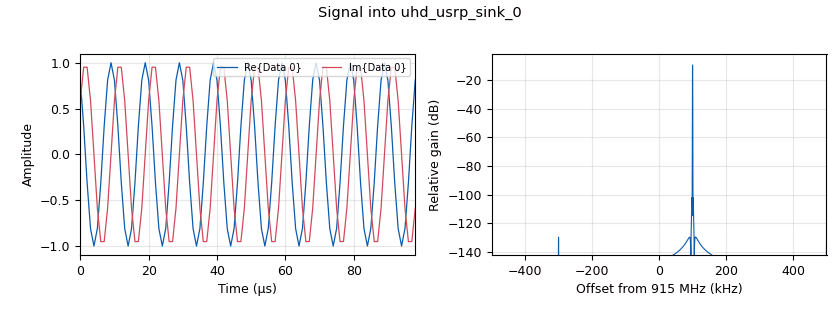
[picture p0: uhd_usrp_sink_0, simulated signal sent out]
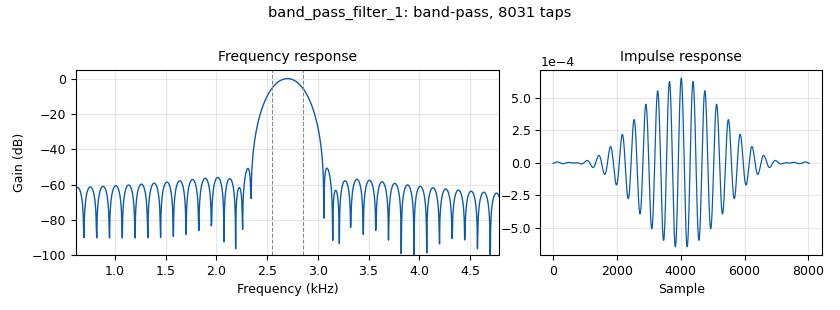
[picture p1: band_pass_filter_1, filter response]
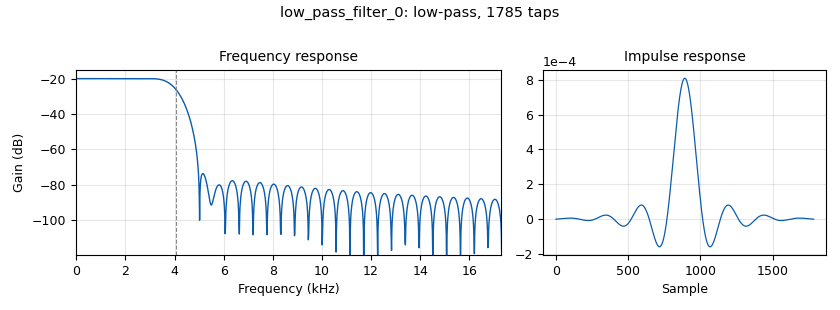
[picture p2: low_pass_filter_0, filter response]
options:
  parameters:
    author: ebaum
    generate_options: qt_gui
    id: top_block
    output_language: python
    title: Not titled yet
  states: {}

blocks:
- name: center_freq
  id: variable
  parameters:
    value: 915e6
  states: {}
- name: enable_rx
  id: variable_qtgui_check_box
  parameters:
    'false': '0'
    gui_hint: 1,4,1,1
    'true': '1'
    type: int
    value: '1'
  states: {}
- name: filter_samp_rate
  id: variable
  parameters:
    value: 15e3
  states: {}
- name: fsk_deviation_hz
  id: variable_qtgui_entry
  parameters:
    gui_hint: 1,3,1,1
    type: real
    value: '2700'
  states: {}
- name: fsk_width_hz
  id: variable
  parameters:
    value: '300'
  states: {state: disabled}
- name: fsk_width_hz
  id: variable_qtgui_entry
  parameters:
    gui_hint: 2,3,1,1
    label: fsk width (hz)
    type: int
    value: '300'
  states: {}
- name: nfilts
  id: variable
  parameters:
    value: '32'
  states: {}
- name: rrc_taps
  id: variable_rrc_filter_taps
  parameters:
    alpha: '0.35'
    gain: '1.0'
    ntaps: 11*sps
    samp_rate: filter_samp_rate
    sym_rate: symbol_rate
  states: {state: disabled}
- name: rx_gain
  id: variable_qtgui_range
  parameters:
    gui_hint: 2,2,1,1
    label: RX gain (dB)
    orient: Qt.Horizontal
    start: '0'
    step: '1'
    stop: '76'
    value: '38'
  states: {}
- name: samp_rate
  id: variable
  parameters:
    value: 1e6
  states: {}
- name: scatter_center_freq
  id: variable
  parameters:
    value: scatter_freq_khz * 1e3
  states: {state: disabled}
- name: scatter_center_freq
  id: variable_qtgui_entry
  parameters:
    gui_hint: 1,2,1,1
    label: Scatter Freq (Hz)
    type: real
    value: '207827.25'
  states: {}
- name: sps
  id: variable
  parameters:
    value: int(filter_samp_rate/symbol_rate)
  states: {}
- name: symbol_rate
  id: variable
  parameters:
    value: 1e3
  states: {}
- name: tone_freq
  id: variable
  parameters:
    value: tone_freq_khz * 1e3
  states: {}
- name: tone_freq_khz
  id: variable_qtgui_entry
  parameters:
    gui_hint: 1,1,1,1
    label: Tone Freq (kHz)
    type: real
    value: '100'
  states: {}
- name: tx_gain
  id: variable_qtgui_range
  parameters:
    gui_hint: 2,1,1,1
    label: TX gain (dB)
    orient: Qt.Horizontal
    start: '0'
    step: '1'
    stop: '89'
    value: '40'
  states: {}
- name: tx_samp_rate
  id: variable
  parameters:
    value: 1e6
  states: {}
- name: analog_quadrature_demod_cf_0
  id: analog_quadrature_demod_cf
  parameters:
    gain: '1'
  states: {}
- name: analog_sig_source_x_0
  id: analog_sig_source_x
  parameters:
    amp: '1'
    freq: tone_freq
    offset: '0'
    phase: '0'
    samp_rate: tx_samp_rate
    type: complex
    waveform: analog.GR_COS_WAVE
  states: {}
- name: analog_sig_source_x_1
  id: analog_sig_source_x
  parameters:
    amp: '1'
    freq: '-(tone_freq + scatter_center_freq)'
    offset: '0'
    phase: '0'
    samp_rate: samp_rate
    type: complex
    waveform: analog.GR_COS_WAVE
  states: {}
- name: band_pass_filter_1
  id: band_pass_filter
  parameters:
    decim: int(samp_rate/filter_samp_rate)
    gain: '1'
    high_cutoff_freq: fsk_deviation_hz + fsk_width_hz/2
    low_cutoff_freq: fsk_deviation_hz - fsk_width_hz/2
    samp_rate: samp_rate
    type: fir_filter_ccf
    width: fsk_width_hz
    win: firdes.WIN_HAMMING
  states: {}
- name: blocks_add_const_vxx_0
  id: blocks_add_const_vxx
  parameters:
    const: ord('0')
    type: byte
  states: {state: disabled}
- name: blocks_add_const_vxx_1
  id: blocks_add_const_vxx
  parameters:
    const: '-1'
    type: float
  states: {}
- name: blocks_copy_0
  id: blocks_copy
  parameters:
    enabled: 'True'
    type: complex
  states: {}
- name: blocks_file_sink_0
  id: blocks_file_sink
  parameters:
    comment: file output
    file: /Users/ebaum/Documents/capstone/repo/flowgraphs/wired_switching/bitstream_wired_message.txt
    type: byte
  states: {state: disabled}
- name: blocks_file_source_0
  id: blocks_file_source
  parameters:
    file: /Users/ebaum/Documents/capstone/repo/processing/hamming-test/hamming-dd-bp-s15k.iq
    repeat: 'True'
    type: complex
  states: {state: disabled}
- name: blocks_multiply_const_vxx_0
  id: blocks_multiply_const_vxx
  parameters:
    const: enable_rx
    type: complex
  states: {}
- name: blocks_multiply_const_vxx_1
  id: blocks_multiply_const_vxx
  parameters:
    const: '10'
    type: float
  states: {state: disabled}
- name: blocks_multiply_const_vxx_2
  id: blocks_multiply_const_vxx
  parameters:
    const: '10'
    type: float
  states: {state: disabled}
- name: blocks_multiply_const_vxx_3
  id: blocks_multiply_const_vxx
  parameters:
    const: '2'
    type: float
  states: {}
- name: blocks_multiply_xx_0
  id: blocks_multiply_xx
  parameters:
    type: complex
  states: {}
- name: blocks_null_source_0
  id: blocks_null_source
  parameters:
    type: float
  states: {}
- name: blocks_repeat_0
  id: blocks_repeat
  parameters:
    interp: '15'
    type: float
  states: {state: disabled}
- name: blocks_throttle_1
  id: blocks_throttle
  parameters:
    samples_per_second: filter_samp_rate
    type: complex
  states: {state: disabled}
- name: blocks_uchar_to_float_0
  id: blocks_uchar_to_float
  parameters: {}
  states: {state: disabled}
- name: blocks_uchar_to_float_1
  id: blocks_uchar_to_float
  parameters: {}
  states: {}
- name: blocks_udp_sink_0
  id: blocks_udp_sink
  parameters:
    comment: |-
      in a terminal run
      nc -luk PORT
    eof: 'True'
    ipaddr: localhost
    port: '7890'
    psize: '1472'
    type: byte
    vlen: '1'
  states: {state: disabled}
- name: digital_binary_slicer_fb_0
  id: digital_binary_slicer_fb
  parameters: {}
  states: {state: disabled}
- name: digital_binary_slicer_fb_1
  id: digital_binary_slicer_fb
  parameters: {}
  states: {}
- name: digital_pfb_clock_sync_xxx_0
  id: digital_pfb_clock_sync_xxx
  parameters:
    filter_size: nfilts
    init_phase: '16'
    loop_bw: 6.28/100
    max_dev: '1.5'
    osps: '15'
    sps: sps
    taps: rrc_taps
    type: fff
  states: {state: disabled}
- name: digital_pfb_clock_sync_xxx_0_0
  id: digital_pfb_clock_sync_xxx
  parameters:
    filter_size: nfilts
    init_phase: '16'
    loop_bw: 6.28/100
    max_dev: '1.5'
    osps: '1'
    sps: sps
    taps: rrc_taps
    type: fff
  states: {state: disabled}
- name: low_pass_filter_0
  id: low_pass_filter
  parameters:
    cutoff_freq: fsk_deviation_hz * 1.5
    decim: int(samp_rate/filter_samp_rate)
    gain: '0.1'
    samp_rate: samp_rate
    type: fir_filter_ccf
    width: fsk_deviation_hz * 0.5
    win: firdes.WIN_HAMMING
  states: {}
- name: qtgui_freq_sink_x_0
  id: qtgui_freq_sink_x
  parameters:
    bw: filter_samp_rate
    comment: filtered
    ctrlpanel: 'True'
    fc: scatter_center_freq
    fftsize: '1024'
    gui_hint: 3,1,1,4
    name: tuned & filtered
    nconnections: '2'
    type: complex
    wintype: firdes.WIN_BLACKMAN_hARRIS
  states: {}
- name: qtgui_freq_sink_x_1
  id: qtgui_freq_sink_x
  parameters:
    bw: samp_rate
    comment: tuned
    ctrlpanel: 'True'
    fc: '0'
    fftsize: '1024'
    name: Tuned
    type: complex
    update_time: '0.1'
    wintype: firdes.WIN_BLACKMAN_hARRIS
  states: {state: disabled}
- name: qtgui_freq_sink_x_2
  id: qtgui_freq_sink_x
  parameters:
    bw: filter_samp_rate
    fc: '0'
    fftsize: '1024'
    type: float
    wintype: firdes.WIN_BLACKMAN_hARRIS
  states: {state: disabled}
- name: qtgui_time_sink_x_0
  id: qtgui_time_sink_x
  parameters:
    ctrlpanel: 'True'
    size: '256'
    srate: samp_rate
    type: complex
  states: {state: disabled}
- name: qtgui_time_sink_x_1
  id: qtgui_time_sink_x
  parameters:
    ctrlpanel: 'True'
    entags: 'False'
    gui_hint: 4,1,1,4
    marker2: '2'
    nconnections: '3'
    size: '256'
    srate: filter_samp_rate
    tr_mode: qtgui.TRIG_MODE_NORM
    type: float
    update_time: '0.02'
    ymax: '5'
    ymin: '-5'
  states: {}
- name: qtgui_time_sink_x_1_0
  id: qtgui_time_sink_x
  parameters:
    ctrlpanel: 'True'
    entags: 'False'
    gui_hint: 4,1,1,4
    size: '256'
    srate: symbol_rate
    tr_mode: qtgui.TRIG_MODE_AUTO
    type: float
    ymax: '2'
    ymin: '0'
  states: {state: disabled}
- name: qtgui_waterfall_sink_x_0
  id: qtgui_waterfall_sink_x
  parameters:
    bw: filter_samp_rate
    fc: '0'
    fftsize: '1024'
    gui_hint: 4,3,2,2
    type: complex
    wintype: firdes.WIN_BLACKMAN_hARRIS
  states: {state: disabled}
- name: qtgui_waterfall_sink_x_1
  id: qtgui_waterfall_sink_x
  parameters:
    bw: filter_samp_rate
    fc: '0'
    fftsize: '1024'
    type: float
    wintype: firdes.WIN_BLACKMAN_hARRIS
  states: {state: disabled}
- name: uhd_usrp_sink_0
  id: uhd_usrp_sink
  parameters:
    ant0: TX/RX
    center_freq0: center_freq
    dev_args: '""'
    gain0: tx_gain
    len_tag_name: ''
    norm_gain0: 'False'
    samp_rate: tx_samp_rate
    sync: sync
    type: fc32
  states: {}
- name: uhd_usrp_source_0
  id: uhd_usrp_source
  parameters:
    ant0: RX2
    center_freq0: center_freq
    dc_offs_enb0: '""'
    dev_args: '""'
    gain0: rx_gain
    iq_imbal_enb0: '""'
    norm_gain0: 'False'
    samp_rate: samp_rate
    sync: sync
    type: fc32
  states: {}

connections:
- [analog_quadrature_demod_cf_0, '0', digital_binary_slicer_fb_1, '0']
- [analog_quadrature_demod_cf_0, '0', digital_pfb_clock_sync_xxx_0, '0']
- [analog_quadrature_demod_cf_0, '0', digital_pfb_clock_sync_xxx_0_0, '0']
- [analog_quadrature_demod_cf_0, '0', qtgui_freq_sink_x_2, '0']
- [analog_quadrature_demod_cf_0, '0', qtgui_time_sink_x_1, '0']
- [analog_quadrature_demod_cf_0, '0', qtgui_waterfall_sink_x_1, '0']
- [analog_sig_source_x_0, '0', uhd_usrp_sink_0, '0']
- [analog_sig_source_x_1, '0', blocks_multiply_xx_0, '1']
- [band_pass_filter_1, '0', blocks_copy_0, '0']
- [blocks_add_const_vxx_0, '0', blocks_file_sink_0, '0']
- [blocks_add_const_vxx_0, '0', blocks_udp_sink_0, '0']
- [blocks_add_const_vxx_1, '0', qtgui_time_sink_x_1, '2']
- [blocks_copy_0, '0', analog_quadrature_demod_cf_0, '0']
- [blocks_copy_0, '0', qtgui_freq_sink_x_0, '0']
- [blocks_copy_0, '0', qtgui_waterfall_sink_x_0, '0']
- [blocks_file_source_0, '0', blocks_throttle_1, '0']
- [blocks_multiply_const_vxx_0, '0', blocks_multiply_xx_0, '0']
- [blocks_multiply_const_vxx_1, '0', qtgui_time_sink_x_1, '1']
- [blocks_multiply_const_vxx_2, '0', qtgui_time_sink_x_1, '1']
- [blocks_multiply_const_vxx_3, '0', blocks_add_const_vxx_1, '0']
- [blocks_multiply_xx_0, '0', band_pass_filter_1, '0']
- [blocks_multiply_xx_0, '0', low_pass_filter_0, '0']
- [blocks_multiply_xx_0, '0', qtgui_freq_sink_x_1, '0']
- [blocks_null_source_0, '0', qtgui_time_sink_x_1, '1']
- [blocks_repeat_0, '0', blocks_multiply_const_vxx_2, '0']
- [blocks_throttle_1, '0', blocks_copy_0, '0']
- [blocks_uchar_to_float_0, '0', qtgui_time_sink_x_1_0, '0']
- [blocks_uchar_to_float_1, '0', blocks_multiply_const_vxx_3, '0']
- [digital_binary_slicer_fb_0, '0', blocks_add_const_vxx_0, '0']
- [digital_binary_slicer_fb_0, '0', blocks_uchar_to_float_0, '0']
- [digital_binary_slicer_fb_1, '0', blocks_uchar_to_float_1, '0']
- [digital_pfb_clock_sync_xxx_0, '0', blocks_multiply_const_vxx_1, '0']
- [digital_pfb_clock_sync_xxx_0, '0', digital_binary_slicer_fb_0, '0']
- [digital_pfb_clock_sync_xxx_0_0, '0', blocks_repeat_0, '0']
- [digital_pfb_clock_sync_xxx_0_0, '0', digital_binary_slicer_fb_0, '0']
- [low_pass_filter_0, '0', qtgui_freq_sink_x_0, '1']
- [uhd_usrp_source_0, '0', blocks_multiply_const_vxx_0, '0']
- [uhd_usrp_source_0, '0', qtgui_time_sink_x_0, '0']

metadata:
  file_format: 1
